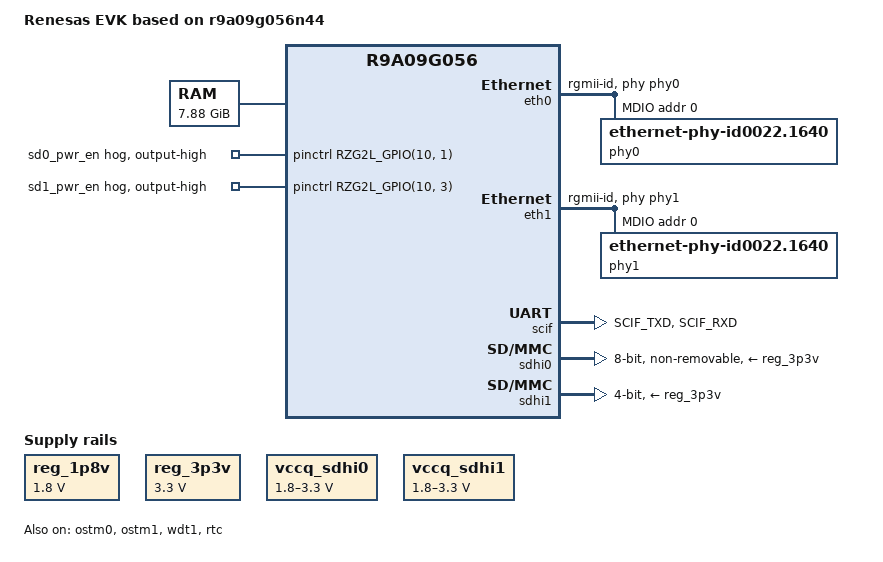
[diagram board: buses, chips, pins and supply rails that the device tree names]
// SPDX-License-Identifier: (GPL-2.0-only OR BSD-2-Clause)
/*
 * Device Tree Source for the RZ/V2N EVK Alpha board
 *
 * Copyright (C) 2024 Renesas Electronics Corp.
 */

/dts-v1/;
#include "r9a09g056.dtsi"
#include <dt-bindings/pinctrl/rzg2l-pinctrl.h>
#include <dt-bindings/gpio/gpio.h>

/* SD0-eMMC selection
 *
 * CN15 can be connected to SD0 or eMMC sub-board.
 * Please setting the below Macro to the corresponding value depend on
 * the sub-board connected.
 *
 * SEL_SD0: 0: eMMC (default);		1: SD0
 */
#define SEL_SD0		0

/ {
	model = "Renesas EVK based on r9a09g056n44";
	compatible = "renesas,r9a09g056n44-evk", "renesas,r9a09g056n44", "renesas,r9a09g056";

	aliases {
		serial0 = &scif;
		mmc0 = &sdhi0;
		mmc1 = &sdhi1;
		ethernet0 = &eth0;
		ethernet1 = &eth1;
	};

	chosen {
		bootargs = "ignore_loglevel";
		stdout-path = "serial0:115200n8";
	};

	memory@48000000 {
		device_type = "memory";
		/* first 128MB is reserved for secure area. */
		reg = <0x0 0x48000000 0x1 0xF8000000>;
	};

	reserved-memory {
		#address-cells = <2>;
		#size-cells = <2>;
		ranges;

		global_cma: linux,cma@58000000 {
			compatible = "shared-dma-pool";
			linux,cma-default;
			reusable;
			reg = <0x0 0x58000000 0x0 0x10000000>;
		};

		mmp_reserved: linux,multimedia {
			compatible = "shared-dma-pool";
			reusable;
			reg = <0x00000000 0x68000000 0x0 0x20000000>;
		};

		isp: ISP@90000000 {
			compatible = "shared-dma-pool";
			reusable;
			reg = <0x0 0x90000000 0x0 0x18000000>;
		};

		opencva_reserved: OpenCVA@A8000000 {
			reusable;
			reg = <0x0 0xA8000000 0x0 0x7CFF000>;
		};

		shared_drp_reserved: SharedDRP@AFCFF000 {
			reusable;
			reg = <0x0 0xAFCFF000 0x0 0x00001000>;
		};

		drp_codec: DRP-Codec@AFD00000 {
			reusable;
			reg = <0x0 0xAFD00000 0x0 0x300000>;
		};

		image_buf0: image_buf@B0000000 {
			compatible = "shared-dma-pool";
			reusable;
			reg = <0x0 0xB0000000 0x0 0x4000000>;
			label = "image_buf0";
		};

		cru_func: cru_buffer@B4000000 {
			compatible = "shared-dma-pool";
			reusable;
			reg = <0x0 0xB4000000 0x0 0x16400000>;
		};

		drp_reserved: DRP-AI@D0000000 {
			reusable;
			reg = <0x0 0xD0000000 0x0 0x20000000>;
		};
	};

	mmngr {
		compatible = "renesas,mmngr";
		memory-region = <&mmp_reserved>;
	};

	mmngrbuf {
		compatible = "renesas,mmngrbuf";
	};

	vspm_if {
		compatible = "renesas,vspm_if";
	};

	reg_1p8v: regulator0 {
		compatible = "regulator-fixed";

		regulator-name = "fixed-1.8V";
		regulator-min-microvolt = <1800000>;
		regulator-max-microvolt = <1800000>;
		regulator-boot-on;
		regulator-always-on;
	};

	reg_3p3v: regulator1 {
		compatible = "regulator-fixed";

		regulator-name = "fixed-3.3V";
		regulator-min-microvolt = <3300000>;
		regulator-max-microvolt = <3300000>;
		regulator-boot-on;
		regulator-always-on;
	};

	vccq_sdhi0: regulator-vccq-sdhi0 {
		compatible = "regulator-gpio";

		regulator-name = "SDHI0 VccQ";
		regulator-min-microvolt = <1800000>;
		regulator-max-microvolt = <3300000>;

		gpios = <&pinctrl RZG2L_GPIO(10, 0) GPIO_ACTIVE_HIGH>;

		gpios-states = <1>;
		states = <3300000 0 1800000 1>;
	};

	vccq_sdhi1: regulator-vccq-sdhi1 {
		compatible = "regulator-gpio";

		regulator-name = "SDHI1 VccQ";
		regulator-min-microvolt = <1800000>;
		regulator-max-microvolt = <3300000>;

		gpios = <&pinctrl RZG2L_GPIO(10, 2) GPIO_ACTIVE_HIGH>;

		gpios-states = <1>;
		states = <3300000 0 1800000 1>;
	};
};

&eth0 {
	phy-handle = <&phy0>;
	phy-mode = "rgmii-id";
	status = "okay";

	mdio {
		#address-cells = <1>;
		#size-cells = <0>;
		phy0: ethernet-phy@0 {
			compatible = "ethernet-phy-id0022.1640",
				     "ethernet-phy-ieee802.3-c22";
			reg = <0>;
			rxc-skew-psec = <1400>;
			txc-skew-psec = <1400>;
			rxdv-skew-psec = <0>;
			txdv-skew-psec = <0>;
			rxd0-skew-psec = <0>;
			rxd1-skew-psec = <0>;
			rxd2-skew-psec = <0>;
			rxd3-skew-psec = <0>;
			txd0-skew-psec = <0>;
			txd1-skew-psec = <0>;
			txd2-skew-psec = <0>;
			txd3-skew-psec = <0>;
		};
	};
};

&eth1 {
	phy-handle = <&phy1>;
	phy-mode = "rgmii-id";
	status = "okay";

	mdio {
		#address-cells = <1>;
		#size-cells = <0>;
		phy1: ethernet-phy@0 {
			compatible = "ethernet-phy-id0022.1640",
				     "ethernet-phy-ieee802.3-c22";
			reg = <0>;
			rxc-skew-psec = <1400>;
			txc-skew-psec = <1400>;
			rxdv-skew-psec = <0>;
			txdv-skew-psec = <0>;
			rxd0-skew-psec = <0>;
			rxd1-skew-psec = <0>;
			rxd2-skew-psec = <0>;
			rxd3-skew-psec = <0>;
			txd0-skew-psec = <0>;
			txd1-skew-psec = <0>;
			txd2-skew-psec = <0>;
			txd3-skew-psec = <0>;
		};
	};
};

&pinctrl {
	scif0_pins: scif0 {
		pins =  "SCIF_TXD", "SCIF_RXD";
		renesas,output-impedance = <1>;
	};

	sd0_pwr_en {
		gpio-hog;
		gpios = <RZG2L_GPIO(10, 1) GPIO_ACTIVE_HIGH>;
		output-high;
		line-name = "sd0_pwr_en";
	};

	sd1_pwr_en {
		gpio-hog;
		gpios = <RZG2L_GPIO(10, 3) GPIO_ACTIVE_HIGH>;
		output-high;
		line-name = "sd1_pwr_en";
	};

#if (SEL_SD0)
	/* Support pinctrl for SD function of SDHI0 */
	sdhi0_pins: sd0 {
		sd0_mux {
			pinmux = <RZG2L_PORT_PINMUX(10, 5, 15)>; /* SD0_CD */
		};
	};
#endif

	/* Support pinctrl for SD function of SDHI1 */
	sdhi1_pins: sd1 {
		sd1_mux {
			pinmux = <RZG2L_PORT_PINMUX(9, 4, 14)>; /* SD1_CD */
		};
	};
};

&qextal_clk {
	clock-frequency = <24000000>;
};

&scif {
	pinctrl-0 = <&scif0_pins>;
	pinctrl-names = "default";

	status = "okay";
};

&ostm0 {
	status = "okay";
};

&ostm1 {
	status = "okay";
};

&wdt1 {
	status = "okay";
};

#if (!SEL_SD0)
&sdhi0 {
	vmmc-supply = <&reg_3p3v>;
	vqmmc-supply = <&reg_1p8v>;
	bus-width = <8>;
	mmc-hs200-1_8v;
	non-removable;
	fixed-emmc-driver-type = <1>;
	status = "okay";
};
#else
&sdhi0 {
	pinctrl-0 = <&sdhi0_pins>;
	pinctrl-names = "default";

	vmmc-supply = <&reg_3p3v>;
	vqmmc-supply = <&vccq_sdhi0>;

	bus-width = <4>;
	sd-uhs-sdr50;
	sd-uhs-sdr104;
	status = "okay";
};
#endif

&sdhi1 {
	pinctrl-0 = <&sdhi1_pins>;
	pinctrl-names = "default";

	vmmc-supply = <&reg_3p3v>;
	vqmmc-supply = <&vccq_sdhi1>;
	bus-width = <4>;
	sd-uhs-sdr50;
	sd-uhs-sdr104;
	status = "okay";
};

&rtc {
        status = "okay";
};
